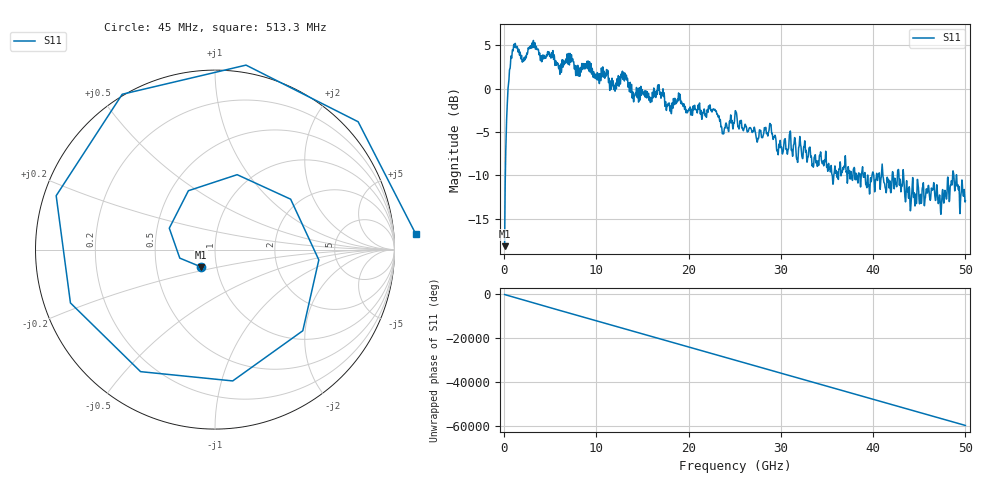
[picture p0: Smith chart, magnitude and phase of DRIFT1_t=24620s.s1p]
!Created with skrf (http://scikit-rf.org).
# Hz S RI R 50.0
!freq ReS11 ImS11
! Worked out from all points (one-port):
!   1601 points, 45 MHz to 50 GHz, reference 50 ohm
!   lowest |S11| = -18.2 dB at 45 MHz (marker M1), VSWR 1.28, Z = 42.1 - j8.28 ohm
!   |S11| at or under -10 dB: 41.06 GHz to 42.06 GHz (1.009 GHz wide, 2.43 % of centre); 43.3 GHz to 48.62 GHz (5.318 GHz wide, 11.6 % of centre); 49.04 GHz to end of sweep (the widest 3 of 25)
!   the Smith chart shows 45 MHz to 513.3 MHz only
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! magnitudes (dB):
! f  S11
! 45 MHz  -18.2
! 450.9 MHz  0.4
! 981.7 MHz  4.5
! 2.168 GHz  3.6
! 3.23 GHz  4.7
! 6.289 GHz  3.3
! 7.195 GHz  3.1
! 7.975 GHz  2.7
! 12.53 GHz  1.4
! 13.03 GHz  0.9
! 14.09 GHz  -0.9
! 18.78 GHz  -1.2
! 22.81 GHz  -2.5
! 23.74 GHz  -5.1
! 25.02 GHz  -2.8
! 27.43 GHz  -6.2
! 28.86 GHz  -4.2
! 29.77 GHz  -6.5
! 31.27 GHz  -7.8
! 35.54 GHz  -9.9
! 37.51 GHz  -10.4
! 39.42 GHz  -10.0
! 42.69 GHz  -9.4
! 43.76 GHz  -11.5
! 46.69 GHz  -12.4
! 47.22 GHz  -12.3
! 48.84 GHz  -11.8
! 50 GHz  -12.9
